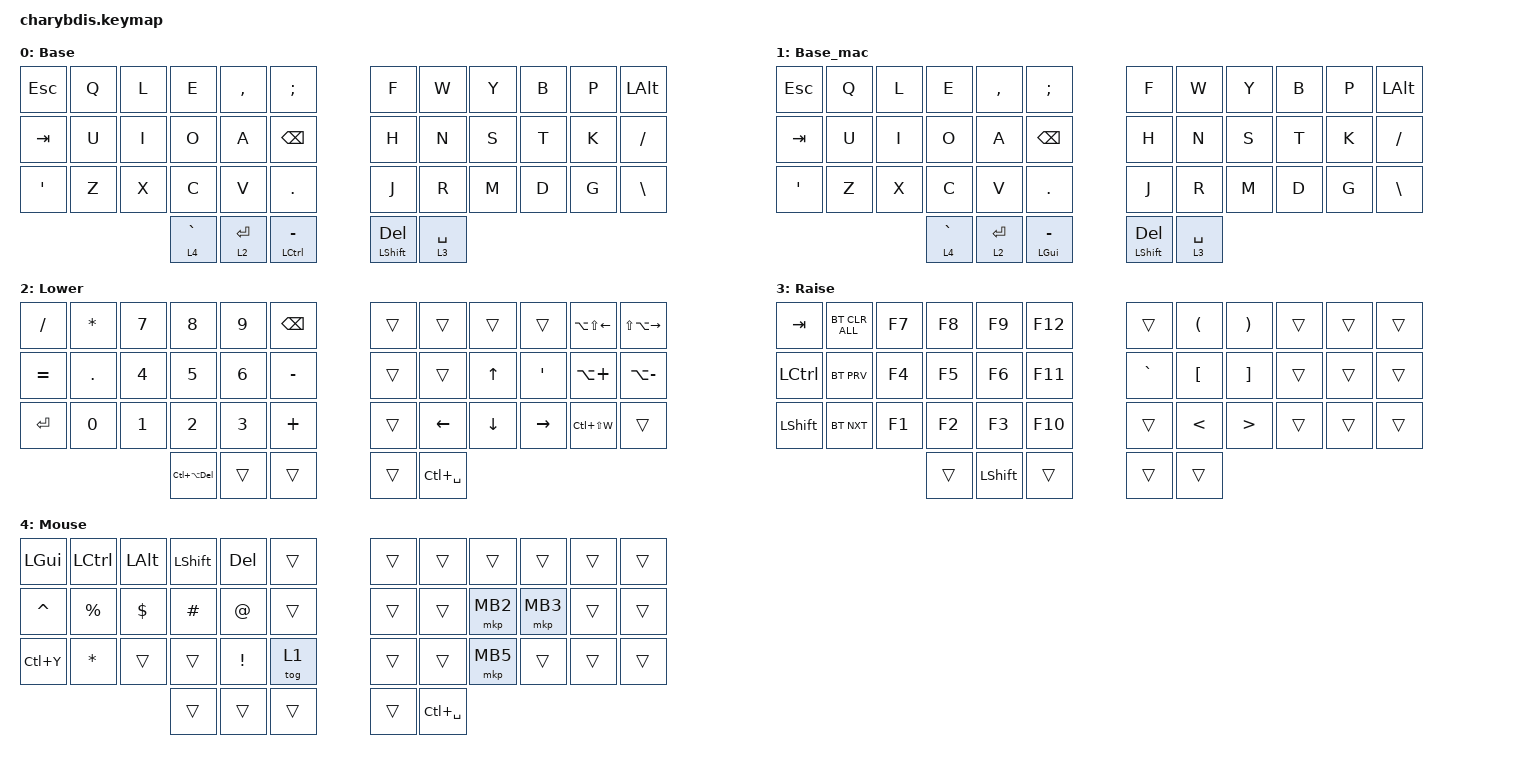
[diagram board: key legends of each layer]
#include <behaviors/mouse_keys.dtsi>
#include <dt-bindings/zmk/mouse.h>
#include <behaviors.dtsi>
#include <dt-bindings/zmk/bt.h>
#include <dt-bindings/zmk/keys.h>

/ {
    combos {
        compatible = "zmk,combos";

        mkp_left {
            bindings = <&mkp MB1>;  /* MB1 = 左クリック */
            key-positions = <19 20>;
        };

        rclk {
            bindings = <&mkp MB2>;  /* MB2 = 右クリック */
            key-positions = <20 21>;
        };

        mclk {
            bindings = <&mkp MB3>;  /* MB3 = 中クリック */
            key-positions = <19 21>;
        };

        mb4 {
            bindings = <&mkp MB4>;
            key-positions = <31 32>;
        };

        mb5 {
            bindings = <&mkp MB5>;
            key-positions = <32 33>;
        };

        scroll {
            bindings = <&mo 2>;
            key-positions = <19 22>;
        };
    };

    behaviors {
        hanzen_space: hanzen_space {
            compatible = "zmk,behavior-tap-dance";
            label = "HANZEN_SPACE";
            #binding-cells = <0>;
            bindings = <&kp LEFT_CONTROL>, <&kp LC(SPACE)>;
        };
    };

    keymap {
        compatible = "zmk,keymap";

        Base {
            label = "Base";
            bindings = <
&kp ESC  &kp Q  &kp L  &kp E        &kp COMMA    &kp SEMICOLON             &kp F               &kp W        &kp Y  &kp B  &kp P  &kp LEFT_ALT
&kp TAB  &kp U  &kp I  &kp O        &kp A        &kp BSPC                  &kp H               &kp N        &kp S  &kp T  &kp K  &kp SLASH
&kp SQT  &kp Z  &kp X  &kp C        &kp V        &kp PERIOD                &kp J               &kp R        &kp M  &kp D  &kp G  &kp BACKSLASH
                       &lt 4 GRAVE  &lt 2 ENTER  &mt LEFT_CONTROL MINUS    &mt LEFT_SHIFT DEL  &lt 3 SPACE
            >;
        };

        Base_mac {
            label = "Base_mac";
            bindings = <
&kp ESC  &kp Q  &kp L  &kp E        &kp COMMA    &kp SEMICOLON         &kp F               &kp W        &kp Y  &kp B  &kp P  &kp LEFT_ALT
&kp TAB  &kp U  &kp I  &kp O        &kp A        &kp BSPC              &kp H               &kp N        &kp S  &kp T  &kp K  &kp SLASH
&kp SQT  &kp Z  &kp X  &kp C        &kp V        &kp PERIOD            &kp J               &kp R        &kp M  &kp D  &kp G  &kp BACKSLASH
                       &lt 4 GRAVE  &lt 2 ENTER  &mt LEFT_GUI MINUS    &mt LEFT_SHIFT DEL  &lt 3 SPACE
            >;
        };

        Lower {
            label = "Lower";
            bindings = <
&kp SLASH  &kp ASTRK     &kp N7        &kp NUMBER_8     &kp NUMBER_9  &kp BACKSPACE    &trans  &trans         &trans    &trans     &kp LA(LS(LEFT))  &kp LS(LA(RIGHT_ARROW))
&kp EQUAL  &kp DOT       &kp NUMBER_4  &kp N5           &kp NUMBER_6  &kp MINUS        &trans  &trans         &kp UP    &kp SQT    &kp LA(PLUS)      &kp LA(MINUS)
&kp ENTER  &kp NUMBER_0  &kp NUMBER_1  &kp NUMBER_2     &kp NUMBER_3  &kp PLUS         &trans  &kp LEFT       &kp DOWN  &kp RIGHT  &kp LC(LS(W))     &trans
                                       &kp LC(LA(DEL))  &trans        &trans           &trans  &kp LC(SPACE)
            >;
        };

        Raise {
            label = "Raise";
            bindings = <
&kp TAB    &bt BT_CLR_ALL  &kp F7  &kp F8  &kp F9      &kp F12    &trans     &kp LPAR       &kp RPAR          &trans  &trans  &trans
&kp LCTRL  &bt BT_PRV      &kp F4  &kp F5  &kp F6      &kp F11    &kp GRAVE  &kp LBKT       &kp RBKT          &trans  &trans  &trans
&kp LSHFT  &bt BT_NXT      &kp F1  &kp F2  &kp F3      &kp F10    &trans     &kp LESS_THAN  &kp GREATER_THAN  &trans  &trans  &trans
                                   &trans  &kp LSHIFT  &trans     &trans     &trans
            >;
        };

        mouse_layer {
            label = "Mouse";
            bindings = <
&kp LEFT_GUI  &kp LCTRL    &kp LEFT_ALT  &kp LEFT_SHIFT  &kp DEL       &trans    &trans  &trans  &trans           &trans     &trans  &trans
&kp CARET      &kp PERCENT  &kp DOLLAR    &kp HASH        &kp AT_SIGN  &trans    &trans  &trans  &mkp MB2         &mkp MB3   &trans  &trans
&kp LC(Y)      &kp ASTRK    &trans        &trans          &kp EXCL     &tog 1    &trans  &trans  &mkp MB5         &trans     &trans  &trans
                                          &trans          &trans       &trans    &trans           &kp LC(SPACE)
            >;
        };
    };
};
